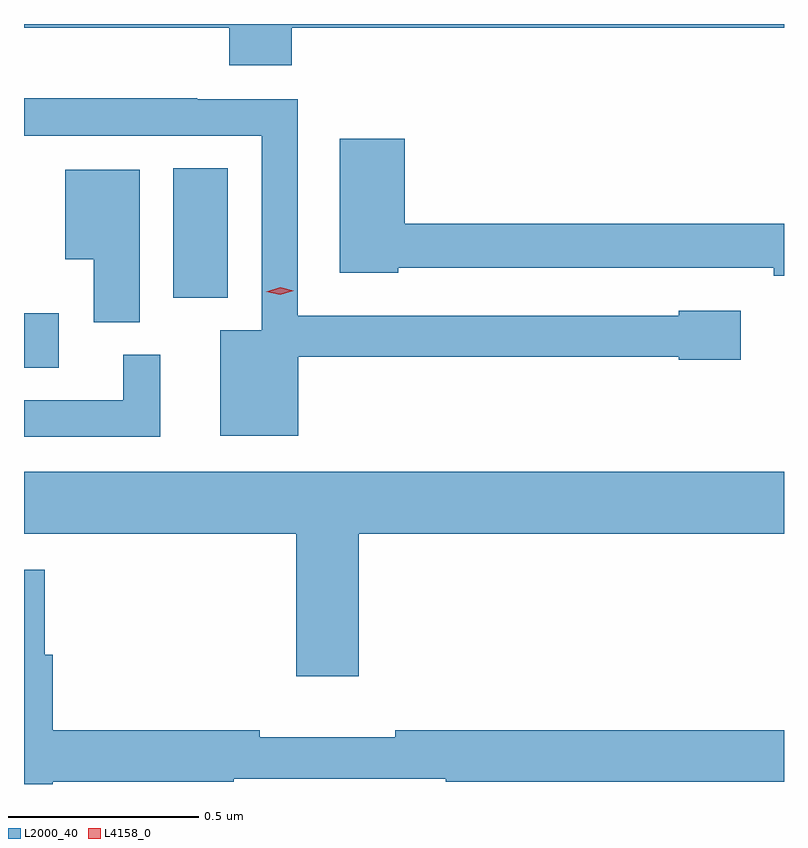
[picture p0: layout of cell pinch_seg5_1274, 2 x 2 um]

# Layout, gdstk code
import gdstk
lib = gdstk.Library(unit=1e-6, precision=1e-09)
def R(c, l, rs):  # rectangles x0, y0, x1, y1
    for r in rs: c.add(gdstk.rectangle(r[:2], r[2:], *l))
def P(c, l, *ps):  # polygons
    for p in ps: c.add(gdstk.Polygon(p, *l))
L2000_40 = (2000, 40)
L4158_0 = (4158, 0)

pinch_seg5_1274 = lib.new_cell('pinch_seg5_1274')
R(pinch_seg5_1274, L2000_40, [(463.991,901.153,464.083,901.297), (464.384,901.337,464.527,901.679)])
P(pinch_seg5_1274, L2000_40, [(464.696,902.048),(465.991,902.048),(465.991,902.058),(463.991,902.058),(463.991,902.048),(464.531,902.048),(464.531,901.949),(464.696,901.949)],
  [(464.713,901.182),(465.714,901.182),(465.714,901.174),(465.877,901.174),(465.877,901.303),(465.714,901.303),(465.714,901.29),(464.712,901.29),(464.712,901.86),(464.447,901.86),(464.447,901.862),(463.991,901.862),(463.991,901.764),(464.616,901.764),(464.616,901.252),(464.507,901.252),(464.507,900.974),(464.713,900.974)],
  [(465.991,901.532),(464.993,901.532),(464.993,901.756),(464.822,901.756),(464.822,901.403),(464.976,901.403),(464.976,901.416),(465.964,901.416),(465.964,901.396),(465.991,901.396)],
  [(464.296,901.675),(464.099,901.675),(464.099,901.439),(464.174,901.439),(464.174,901.273),(464.296,901.273)],
  [(464.35,901.188),(464.252,901.188),(464.252,901.068),(463.991,901.068),(463.991,900.972),(464.35,900.972)],
  [(464.872,900.716),(465.991,900.716),(465.991,900.88),(463.991,900.88),(463.991,900.716),(464.708,900.716),(464.708,900.342),(464.872,900.342)],
  [(464.066,900.064),(464.543,900.064),(464.543,900.072),(465.101,900.072),(465.101,900.064),(465.991,900.064),(465.991,900.2),(464.968,900.2),(464.968,900.181),(464.612,900.181),(464.612,900.2),(464.066,900.2),(464.066,900.398),(464.046,900.398),(464.046,900.622),(463.991,900.622),(463.991,900.058),(464.066,900.058)])
P(pinch_seg5_1274, L4158_0, [(464.665,901.345),(464.629,901.353),(464.629,901.353),(464.629,901.354),(464.665,901.365),(464.701,901.356),(464.701,901.356),(464.701,901.356)])

lib.write_gds('pinch_seg5_1274.gds')
